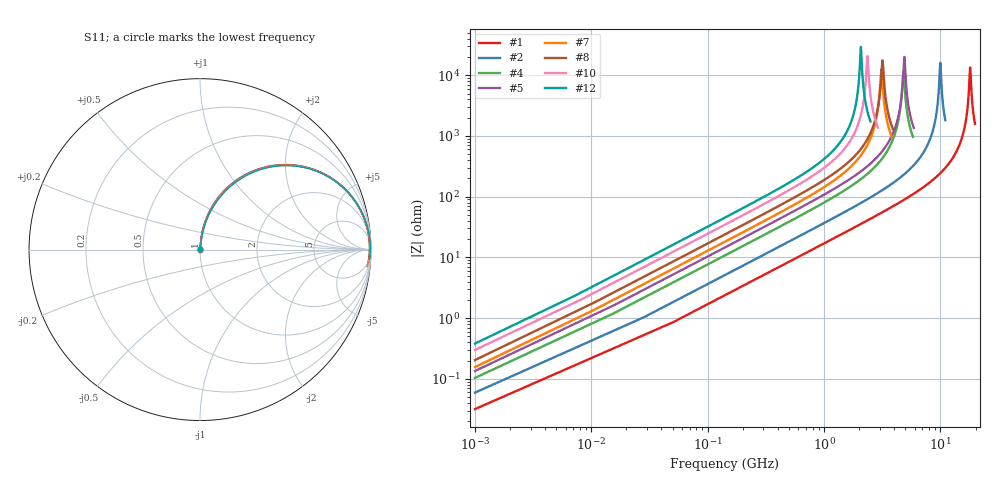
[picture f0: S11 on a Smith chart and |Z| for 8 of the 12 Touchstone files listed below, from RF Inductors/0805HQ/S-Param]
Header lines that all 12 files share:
! 19 June 2002
# MHZ S MA R 50
!Freq  MagS11  AngS11  MagS21  AngS21  MagS12  AngS12  MagS22  AngS22
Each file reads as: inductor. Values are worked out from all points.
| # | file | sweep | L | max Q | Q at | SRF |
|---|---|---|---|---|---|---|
| 1 | 08HQ2N5.S2P | 1 MHz to 19.8 GHz | 2.7 nH | 146 | 5.432 GHz | 17.97 GHz |
| 2 | 08HQ5N6.S2P | 1 MHz to 11 GHz | 5.8 nH | 135 | 3.073 GHz | 9.958 GHz |
| 3 | 08HQ6N2.S2P | 1 MHz to 10.1 GHz | 6.4 nH | 137 | 2.469 GHz | 8.386 GHz |
| 4 | 08HQ12N.S2P | 1 MHz to 5.8 GHz | 12.2 nH | 94.3 | 1.49 GHz | 4.802 GHz |
| 5 | 08HQ16N.S2P | 1 MHz to 5.9 GHz | 16.5 nH | 121 | 1.516 GHz | 4.885 GHz |
| 6 | 08HQ18N.S2P | 1 MHz to 5 GHz | 18.6 nH | 116 | 1.26 GHz | 4.141 GHz |
| 7 | 08HQ20N.S2P | 1 MHz to 3.8 GHz | 20.5 nH | 93.8 | 957.5 MHz | 3.107 GHz |
| 8 | 08HQ27N.S2P | 1 MHz to 3.9 GHz | 27 nH | 97.5 | 982.7 MHz | 3.17 GHz |
| 9 | 08HQ30N.S2P | 1 MHz to 3 GHz | 30 nH | 90 | 793.9 MHz | 2.477 GHz |
| 10 | 08HQ39N.S2P | 1 MHz to 2.9 GHz | 39 nH | 85.1 | 774.6 MHz | 2.351 GHz |
| 11 | 08HQ48N.S2P | 1 MHz to 2.6 GHz | 48 nH | 84.4 | 713.8 MHz | 2.133 GHz |
| 12 | 08HQ51N.S2P | 1 MHz to 2.5 GHz | 51 nH | 77.6 | 729.9 MHz | 2.069 GHz |
